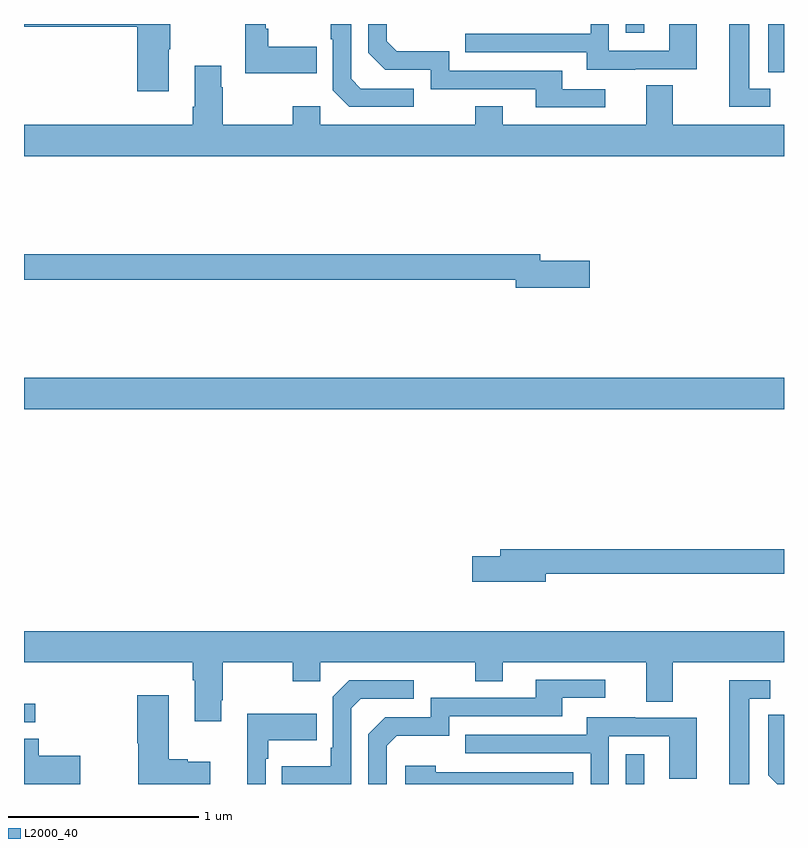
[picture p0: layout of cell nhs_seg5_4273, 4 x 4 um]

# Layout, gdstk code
import gdstk
lib = gdstk.Library(unit=1e-6, precision=1e-09)
def R(c, l, rs):  # rectangles x0, y0, x1, y1
    for r in rs: c.add(gdstk.rectangle(r[:2], r[2:], *l))
def P(c, l, *ps):  # polygons
    for p in ps: c.add(gdstk.Polygon(p, *l))
L2000_40 = (2000, 40)

nhs_seg5_4273 = lib.new_cell('nhs_seg5_4273')
R(nhs_seg5_4273, L2000_40, [(366.168,842.799,366.265,842.956), (363,843.123,363.058,843.222), (363,844.772,367,844.936), (366.918,846.544,367,846.799), (366.168,846.753,366.265,846.799)])
P(nhs_seg5_4273, L2000_40, [(363.763,846.667),(363.771,846.667),(363.771,846.799),(363,846.799),(363,846.784),(363.596,846.784),(363.596,846.444),(363.763,846.444)],
  [(364.541,846.679),(364.285,846.679),(364.285,846.775),(364.272,846.775),(364.272,846.799),(364.164,846.799),(364.164,846.539),(364.541,846.539)],
  [(366.058,846.456),(365.833,846.456),(365.833,846.552),(365.238,846.552),(365.238,846.655),(364.961,846.655),(364.908,846.708),(364.908,846.799),(364.812,846.799),(364.812,846.648),(364.902,846.558),(365.142,846.558),(365.142,846.456),(365.693,846.456),(365.693,846.36),(366.058,846.36)],
  [(366.217,846.561),(366.541,846.561),(366.541,846.799),(366.396,846.799),(366.396,846.657),(366.078,846.657),(366.078,846.799),(365.982,846.799),(365.982,846.747),(365.323,846.747),(365.323,846.651),(365.963,846.651),(365.963,846.557),(366.217,846.557)],
  [(366.928,846.459),(366.817,846.459),(366.817,846.799),(366.713,846.799),(366.713,846.363),(366.928,846.363)],
  [(365.05,846.459),(364.773,846.459),(364.722,846.51),(364.722,846.799),(364.614,846.799),(364.614,846.719),(364.626,846.719),(364.626,846.45),(364.713,846.363),(365.05,846.363)],
  [(367,846.268),(366.415,846.268),(366.415,846.476),(366.275,846.476),(366.275,846.268),(365.521,846.268),(365.521,846.367),(365.374,846.367),(365.374,846.268),(364.56,846.268),(364.56,846.367),(364.414,846.367),(364.414,846.268),(364.047,846.268),(364.047,846.467),(364.039,846.467),(364.039,846.58),(363.899,846.58),(363.899,846.364),(363.887,846.364),(363.887,846.268),(363,846.268),(363,846.104),(367,846.104)],
  [(365.977,845.552),(365.716,845.552),(365.716,845.588),(363,845.588),(363,845.452),(365.588,845.452),(365.588,845.41),(365.977,845.41)],
  [(365.746,843.906),(367,843.906),(367,844.034),(365.507,844.034),(365.507,843.998),(365.358,843.998),(365.358,843.863),(365.746,843.863)],
  [(364.039,843.241),(364.047,843.241),(364.047,843.44),(364.414,843.44),(364.414,843.341),(364.56,843.341),(364.56,843.44),(365.374,843.44),(365.374,843.341),(365.521,843.341),(365.521,843.44),(366.275,843.44),(366.275,843.232),(366.415,843.232),(366.415,843.44),(367,843.44),(367,843.604),(363,843.604),(363,843.44),(363.887,843.44),(363.887,843.344),(363.899,843.344),(363.899,843.129),(364.039,843.129)],
  [(364.908,843),(364.961,843.053),(365.238,843.053),(365.238,843.156),(365.833,843.156),(365.833,843.252),(366.058,843.252),(366.058,843.348),(365.693,843.348),(365.693,843.252),(365.142,843.252),(365.142,843.15),(364.902,843.15),(364.812,843.06),(364.812,842.799),(364.908,842.799)],
  [(366.817,843.249),(366.928,843.249),(366.928,843.345),(366.713,843.345),(366.713,842.799),(366.817,842.799)],
  [(364.722,843.198),(364.773,843.249),(365.05,843.249),(365.05,843.345),(364.713,843.345),(364.626,843.258),(364.626,842.989),(364.614,842.989),(364.614,842.893),(364.357,842.893),(364.357,842.799),(364.722,842.799)],
  [(363.979,842.917),(363.863,842.917),(363.863,842.93),(363.763,842.93),(363.763,843.265),(363.596,843.265),(363.596,843.013),(363.601,843.013),(363.601,842.799),(363.979,842.799)],
  [(364.272,842.933),(364.285,842.933),(364.285,843.029),(364.541,843.029),(364.541,843.169),(364.175,843.169),(364.175,842.799),(364.272,842.799)],
  [(367,843.164),(366.918,843.164),(366.918,842.846),(366.965,842.799),(367,842.799)],
  [(366.078,843.051),(366.396,843.051),(366.396,842.827),(366.541,842.827),(366.541,843.147),(366.217,843.147),(366.217,843.151),(365.963,843.151),(365.963,843.057),(365.323,843.057),(365.323,842.961),(365.982,842.961),(365.982,842.799),(366.078,842.799)],
  [(363.295,842.948),(363.077,842.948),(363.077,843.038),(363,843.038),(363,842.799),(363.295,842.799)],
  [(365.892,842.862),(365.168,842.862),(365.168,842.896),(365.007,842.896),(365.007,842.799),(365.892,842.799)])

lib.write_gds('nhs_seg5_4273.gds')
